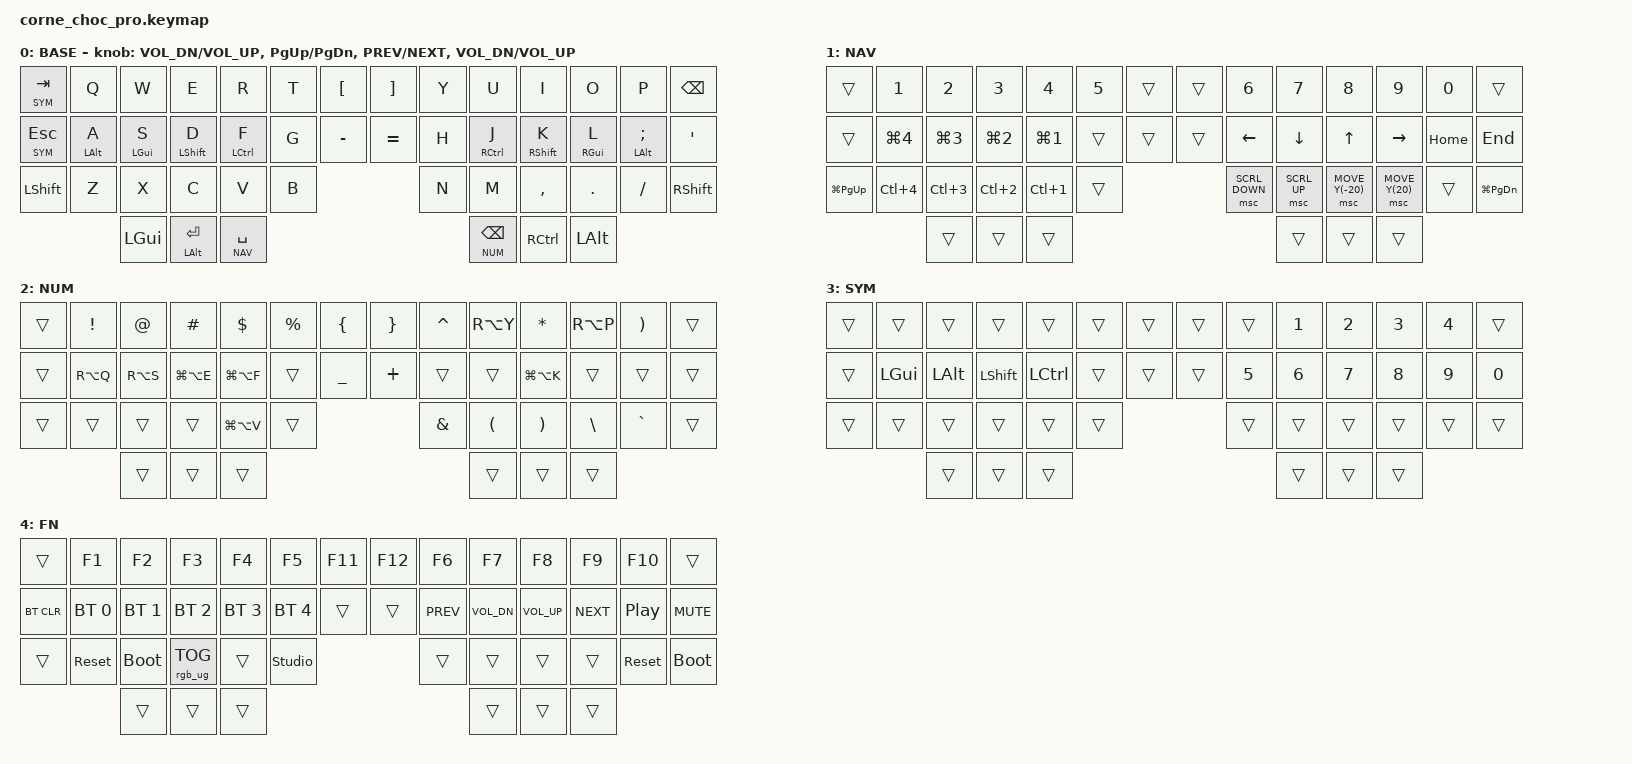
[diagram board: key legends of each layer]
/*
 * corne_choc_pro.keymap  -  Keebart Corne Choc Pro BT (46 keys), ZMK v0.3
 *
 * The Corne version of ../kanata/.config/kanata/config.kbd: same home-row
 * mods, same layers on the same letters, so both keyboards feel alike.
 * kanata leaves this keyboard alone (kanata/.config/kanata/start).
 *
 * This file is the original. To use it, copy it and corne_choc_pro.conf into
 * config/ of your fork of https://github.com/Keebart/zmk-config (branch main),
 * push, and flash the firmware GitHub builds. Steps: SWAY-GUIDE.org,
 * "Corne keyboard".
 *
 * Key positions (what the numbers in comments and ZMK errors mean):
 *
 *    0  1  2  3  4  5 |  6      7 |  8  9 10 11 12 13
 *   14 15 16 17 18 19 | 20     21 | 22 23 24 25 26 27
 *   28 29 30 31 32 33 |           | 34 35 36 37 38 39
 *            40 41 42 |           | 43 44 45
 *
 * Layers:
 *   nav  hold Space             arrows on hjkl, digits, workspaces, wheel
 *   num  hold Backspace thumb   symbols, umlauts, app keys
 *   sym  hold Esc or Tab        number pad under the right hand
 *   fn   hold Space + Backspace F-keys, media, Bluetooth, reset/bootloader
 */

#include <behaviors.dtsi>
#include <dt-bindings/zmk/keys.h>
#include <dt-bindings/zmk/bt.h>
#include <dt-bindings/zmk/rgb.h>
#include <dt-bindings/zmk/pointing.h>

#define BASE 0
#define NAV  1
#define NUM  2
#define SYM  3
#define FN   4

/* ---- Settings you can change ----------------------------------------------
 * Timings in milliseconds, taken from config.kbd so both keyboards agree.
 *   HOLD        hold a home-row key this long and it becomes the modifier
 *   REPEAT      tap, then press again within this time = hold the letter
 *               (auto-repeat) instead of the modifier
 *   IDLE        a home-row key pressed sooner than this after another key is
 *               always a letter; stops mods firing while you type fast
 *   LAYER_HOLD  the same as HOLD, for Space and the Backspace thumb
 */
#define HOLD       240
#define REPEAT     170
#define IDLE       150
#define LAYER_HOLD 280

/* Umlauts: the Corne sends AltGr + a letter and sway turns that into the
 * character (layout "us(altgr-intl)", set for this keyboard only in
 * sway/config.d/10-input-output.conf). Shift gives the capital. */
#define DE_AE RA(Q)
#define DE_OE RA(P)
#define DE_UE RA(Y)
#define DE_SS RA(S)

/* App keys: sway focuses or starts the app (30-keybindings.conf, $mod+Alt+..) */
#define APP_EMACS   LG(LA(E))
#define APP_FIREFOX LG(LA(F))
#define APP_KITTY   LG(LA(K))
#define APP_VSCODE  LG(LA(V))

/ {
    chosen {
        zmk,physical-layout = &default_layout;
    };

    behaviors {
        /* "balanced" = kanata's tap-hold-release: the key is a hold as soon as
         * another key is pressed AND released while it is down, or after the
         * time runs out. */

        /* home-row mods: &hm MODIFIER LETTER */
        hm: home_row_mod {
            compatible = "zmk,behavior-hold-tap";
            #binding-cells = <2>;
            flavor = "balanced";
            tapping-term-ms = <HOLD>;
            quick-tap-ms = <REPEAT>;
            require-prior-idle-ms = <IDLE>;
            bindings = <&kp>, <&kp>;
        };

        /* Space: tap Space, hold nav layer */
        lt_spc: layer_tap_space {
            compatible = "zmk,behavior-hold-tap";
            #binding-cells = <2>;
            flavor = "balanced";
            tapping-term-ms = <LAYER_HOLD>;
            quick-tap-ms = <180>;
            require-prior-idle-ms = <IDLE>;
            bindings = <&mo>, <&kp>;
        };

        /* Backspace thumb: tap Backspace, hold num layer. No REPEAT and no
         * IDLE, as kanata's ralt-num: thumb + key works at once, right after
         * typing too. (For a repeating Backspace use the top-right key.) */
        lt_bspc: layer_tap_backspace {
            compatible = "zmk,behavior-hold-tap";
            #binding-cells = <2>;
            flavor = "balanced";
            tapping-term-ms = <LAYER_HOLD>;
            bindings = <&mo>, <&kp>;
        };

        /* Enter thumb: tap Enter, hold Alt */
        mt_ret: mod_tap_enter {
            compatible = "zmk,behavior-hold-tap";
            #binding-cells = <2>;
            flavor = "balanced";
            tapping-term-ms = <HOLD>;
            quick-tap-ms = <REPEAT>;
            bindings = <&kp>, <&kp>;
        };

        /* Esc (where Caps Lock is): tap Esc, hold sym layer */
        lt_esc: layer_tap_escape {
            compatible = "zmk,behavior-hold-tap";
            #binding-cells = <2>;
            flavor = "balanced";
            tapping-term-ms = <HOLD>;
            quick-tap-ms = <REPEAT>;
            require-prior-idle-ms = <IDLE>;
            bindings = <&mo>, <&kp>;
        };

        /* Tab: tap Tab, hold sym layer. "tap-preferred" = only the time
         * decides, as kanata's plain tap-hold. */
        lt_tab: layer_tap_tab {
            compatible = "zmk,behavior-hold-tap";
            #binding-cells = <2>;
            flavor = "tap-preferred";
            tapping-term-ms = <220>;
            quick-tap-ms = <160>;
            require-prior-idle-ms = <IDLE>;
            bindings = <&mo>, <&kp>;
        };
    };

    /* Space + Backspace thumb held together = fn layer */
    conditional_layers {
        compatible = "zmk,conditional-layers";
        fn_layer {
            if-layers = <NAV NUM>;
            then-layer = <FN>;
        };
    };

    keymap {
        compatible = "zmk,keymap";

        base_layer {
            display-name = "BASE";
            // | Tab/sym |  Q  |  W  |  E  |  R  |  T  |  [  |   |  ]  |  Y  |  U  |  I  |  O  |  P  | Bspc  |
            // | Esc/sym | A/Alt|S/Sup|D/Sft|F/Ctl| G  |  -  |   |  =  |  H  |J/Ctl|K/Sft|L/Sup|;/Alt|  '    |
            // | Shift   |  Z  |  X  |  C  |  V  |  B  |               |  N  |  M  |  ,  |  .  |  /  | Shift |
            //                 | Super | Enter/Alt | Space/nav |   | Bspc/num | Ctrl | Alt |
            bindings = <
                &lt_tab SYM TAB &kp Q       &kp W       &kp E        &kp R        &kp T &kp LBKT  &kp RBKT  &kp Y &kp U        &kp I        &kp O       &kp P         &kp BSPC
                &lt_esc SYM ESC &hm LALT A  &hm LGUI S  &hm LSHFT D  &hm LCTRL F  &kp G &kp MINUS &kp EQUAL &kp H &hm RCTRL J  &hm RSHFT K  &hm RGUI L  &hm LALT SEMI &kp SQT
                &kp LSHFT       &kp Z       &kp X       &kp C        &kp V        &kp B                     &kp N &kp M        &kp COMMA    &kp DOT     &kp FSLH      &kp RSHFT
                                            &kp LGUI    &mt_ret LALT RET  &lt_spc NAV SPACE                 &lt_bspc NUM BSPC  &kp RCTRL    &kp LALT
            >;
            sensor-bindings = <&inc_dec_kp C_VOL_DN C_VOL_UP &inc_dec_kp PG_UP PG_DN &inc_dec_kp C_PREV C_NEXT &inc_dec_kp C_VOL_DN C_VOL_UP>;
        };

        nav_layer {
            display-name = "NAV";
            // |        |  1   |  2   |  3   |  4   |  5  |    |   |    |  6   |  7   |  8   |  9   |  0   |        |
            // |        | ws 4 | ws 3 | ws 2 | ws 1 |     |    |   |    | Left | Down |  Up  | Right| Home | End    |
            // | ws prev|Ctrl+4|Ctrl+3|Ctrl+2|Ctrl+1|     |             | whl↓ | whl↑ | whl⇊ | whl⇈ |      | ws next|
            // ws N = Super+N (workspace), ws prev/next = Super+PgUp/PgDn, Ctrl+N = tab N of the app
            bindings = <
                &trans          &kp N1      &kp N2      &kp N3      &kp N4      &kp N5 &trans &trans &kp N6         &kp N7       &kp N8           &kp N9          &kp N0   &trans
                &trans          &kp LG(N4)  &kp LG(N3)  &kp LG(N2)  &kp LG(N1)  &trans &trans &trans &kp LEFT       &kp DOWN     &kp UP           &kp RIGHT       &kp HOME &kp END
                &kp LG(PG_UP)   &kp LC(N4)  &kp LC(N3)  &kp LC(N2)  &kp LC(N1)  &trans               &msc SCRL_DOWN &msc SCRL_UP &msc MOVE_Y(-20) &msc MOVE_Y(20) &trans   &kp LG(PG_DN)
                                                        &trans      &trans      &trans               &trans         &trans       &trans
            >;
        };

        num_layer {
            display-name = "NUM";
            // |     |  !  |  @  |  #    |  $      |  %  |  {  |   |  }  |  ^  |  ü  |  *    |  ö  |  )  |     |
            // |     |  ä  |  ß  | Emacs | Firefox |     |  _  |   |  +  |     |     | kitty |     |     |     |
            // |     |     |     |       | VS Code |     |               |  &  |  (  |  )    |  \  |  `  |     |
            bindings = <
                &trans &kp EXCL  &kp AT    &kp HASH      &kp DLLR        &kp PRCNT &kp LBRC  &kp RBRC &kp CARET &kp DE_UE &kp ASTRK     &kp DE_OE &kp RPAR  &trans
                &trans &kp DE_AE &kp DE_SS &kp APP_EMACS &kp APP_FIREFOX &trans    &kp UNDER &kp PLUS &trans    &trans    &kp APP_KITTY &trans    &trans    &trans
                &trans &trans    &trans    &trans        &kp APP_VSCODE  &trans                       &kp AMPS  &kp LPAR  &kp RPAR      &kp BSLH  &kp GRAVE &trans
                                           &trans        &trans          &trans                       &trans    &trans    &trans
            >;
        };

        sym_layer {
            display-name = "SYM";
            // |     |       |     |       |      |   |   |   |   |     |  1  |  2  |  3  |  4  |     |
            // |     | Super | Alt | Shift | Ctrl |   |   |   |   |  5  |  6  |  7  |  8  |  9  |  0  |
            bindings = <
                &trans &trans   &trans   &trans    &trans    &trans &trans &trans &trans &kp N1 &kp N2 &kp N3 &kp N4 &trans
                &trans &kp LGUI &kp LALT &kp LSHFT &kp LCTRL &trans &trans &trans &kp N5 &kp N6 &kp N7 &kp N8 &kp N9 &kp N0
                &trans &trans   &trans   &trans    &trans    &trans               &trans &trans &trans &trans &trans &trans
                                         &trans    &trans    &trans               &trans &trans &trans
            >;
        };

        fn_layer {
            display-name = "FN";
            // |        | F1  | F2  | F3  | F4  | F5  | F11 |   | F12 | F6   | F7   | F8   | F9   | F10  |       |
            // | BT clr | BT1 | BT2 | BT3 | BT4 | BT5 |     |   |     | Prev | Vol- | Vol+ | Next | Play | Mute  |
            // |        | Rst | Boot| RGB |     | Unlock|             |      |      |      |      | Rst  | Boot  |
            // Rst/Boot act on the half they are on. Boot = bootloader (to flash that half).
            bindings = <
                &trans     &kp F1       &kp F2       &kp F3          &kp F4       &kp F5         &kp F11 &kp F12 &kp F6     &kp F7       &kp F8       &kp F9     &kp F10    &trans
                &bt BT_CLR &bt BT_SEL 0 &bt BT_SEL 1 &bt BT_SEL 2    &bt BT_SEL 3 &bt BT_SEL 4   &trans  &trans  &kp C_PREV &kp C_VOL_DN &kp C_VOL_UP &kp C_NEXT &kp C_PP   &kp C_MUTE
                &trans     &sys_reset   &bootloader  &rgb_ug RGB_TOG &trans       &studio_unlock                 &trans     &trans       &trans       &trans     &sys_reset &bootloader
                                                     &trans          &trans       &trans                         &trans     &trans       &trans
            >;
        };
    };
};
